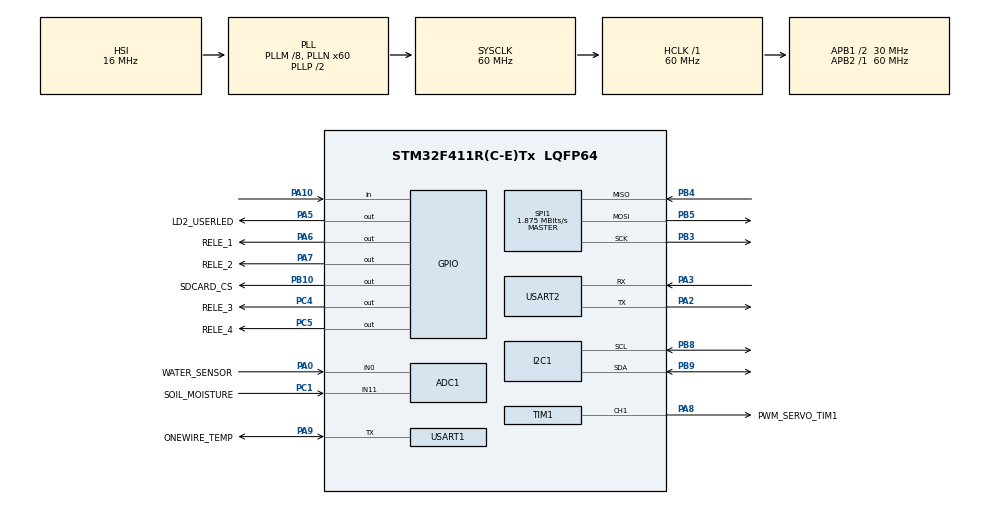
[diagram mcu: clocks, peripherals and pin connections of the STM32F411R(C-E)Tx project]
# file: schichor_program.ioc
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ADC1.Channel-0\#ChannelRegularConversion=ADC_CHANNEL_0
ADC1.Channel-1\#ChannelRegularConversion=ADC_CHANNEL_11
ADC1.ContinuousConvMode=ENABLE
ADC1.NbrOfConversion=2
ADC1.NbrOfConversionFlag=1
ADC1.Rank-0\#ChannelRegularConversion=1
ADC1.Rank-1\#ChannelRegularConversion=2
ADC1.SamplingTime-0\#ChannelRegularConversion=ADC_SAMPLETIME_3CYCLES
ADC1.SamplingTime-1\#ChannelRegularConversion=ADC_SAMPLETIME_3CYCLES
ADC1.master=1
Dma.ADC1.0.Direction=DMA_PERIPH_TO_MEMORY
Dma.ADC1.0.FIFOMode=DMA_FIFOMODE_DISABLE
Dma.ADC1.0.Instance=DMA2_Stream0
Dma.ADC1.0.MemDataAlignment=DMA_MDATAALIGN_HALFWORD
Dma.ADC1.0.MemInc=DMA_MINC_ENABLE
Dma.ADC1.0.Mode=DMA_CIRCULAR
Dma.ADC1.0.PeriphDataAlignment=DMA_PDATAALIGN_HALFWORD
Dma.ADC1.0.PeriphInc=DMA_PINC_DISABLE
Dma.ADC1.0.Priority=DMA_PRIORITY_LOW
Dma.Request0=ADC1
Dma.Request1=USART1_RX
Dma.Request2=USART1_TX
Dma.USART1_RX.1.Direction=DMA_PERIPH_TO_MEMORY
Dma.USART1_RX.1.FIFOMode=DMA_FIFOMODE_DISABLE
Dma.USART1_RX.1.Instance=DMA2_Stream2
Dma.USART1_RX.1.MemDataAlignment=DMA_MDATAALIGN_BYTE
Dma.USART1_RX.1.MemInc=DMA_MINC_ENABLE
Dma.USART1_RX.1.Mode=DMA_NORMAL
Dma.USART1_RX.1.PeriphDataAlignment=DMA_PDATAALIGN_BYTE
Dma.USART1_RX.1.PeriphInc=DMA_PINC_DISABLE
Dma.USART1_RX.1.Priority=DMA_PRIORITY_LOW
Dma.USART1_TX.2.Direction=DMA_MEMORY_TO_PERIPH
Dma.USART1_TX.2.FIFOMode=DMA_FIFOMODE_DISABLE
Dma.USART1_TX.2.Instance=DMA2_Stream7
Dma.USART1_TX.2.MemDataAlignment=DMA_MDATAALIGN_BYTE
Dma.USART1_TX.2.MemInc=DMA_MINC_ENABLE
Dma.USART1_TX.2.Mode=DMA_NORMAL
Dma.USART1_TX.2.PeriphDataAlignment=DMA_PDATAALIGN_BYTE
Dma.USART1_TX.2.PeriphInc=DMA_PINC_DISABLE
Dma.USART1_TX.2.Priority=DMA_PRIORITY_LOW
FATFS._MAX_SS=4096
FATFS._USE_LFN=0
FREERTOS.Tasks01=defaultTask,0,128,StartDefaultTask,Default,NULL,Dynamic,NULL,NULL
FREERTOS.configUSE_COUNTING_SEMAPHORES=1
I2C1.I2C_Mode=I2C_Fast
Mcu.Family=STM32F4
Mcu.Name=STM32F411R(C-E)Tx
Mcu.Package=LQFP64
NVIC.DMA2_Stream0_IRQn=true\:5\:0\:false\:false\:true\:true\:false\:true
NVIC.DMA2_Stream2_IRQn=true\:5\:0\:false\:false\:true\:true\:false\:true
NVIC.DMA2_Stream7_IRQn=true\:5\:0\:false\:false\:true\:true\:false\:true
NVIC.PriorityGroup=NVIC_PRIORITYGROUP_4
NVIC.TIM1_BRK_TIM9_IRQn=true\:5\:0\:false\:false\:true\:false\:false\:true
NVIC.TIM1_TRG_COM_TIM11_IRQn=true\:5\:0\:false\:false\:true\:false\:false\:true
NVIC.TIM1_UP_TIM10_IRQn=true\:5\:0\:false\:false\:true\:true\:true\:true
NVIC.TIM5_IRQn=true\:15\:0\:false\:false\:true\:false\:false\:true
NVIC.TimeBase=TIM5_IRQn
NVIC.TimeBaseIP=TIM5
NVIC.USART1_IRQn=true\:5\:0\:false\:false\:true\:true\:true\:true
PA0-WKUP.GPIO_Label=WATER_SENSOR
PA0-WKUP.Signal=ADCx_IN0
PA10.GPIO_PuPd=GPIO_PULLUP
PA10.Signal=GPIO_Input
PA13.Mode=Serial_Wire
PA13.Signal=SYS_JTMS-SWDIO
PA14.Mode=Serial_Wire
PA14.Signal=SYS_JTCK-SWCLK
PA2.Mode=Asynchronous
PA2.Signal=USART2_TX
PA3.Mode=Asynchronous
PA3.Signal=USART2_RX
PA5.GPIO_Label=LD2_USERLED
PA5.Signal=GPIO_Output
PA6.GPIO_Label=RELE_1
PA6.PinState=GPIO_PIN_RESET
PA6.Signal=GPIO_Output
PA7.GPIO_Label=RELE_2
PA7.Signal=GPIO_Output
PA8.GPIO_Label=PWM_SERVO_TIM1
PA8.Signal=S_TIM1_CH1
PA9.GPIO_Label=ONEWIRE_TEMP
PA9.Mode=Half_duplex(single_wire_mode)
PA9.Signal=USART1_TX
PB10.GPIO_Label=SDCARD_CS
PB10.Signal=GPIO_Output
PB3.Mode=Full_Duplex_Master
PB3.Signal=SPI1_SCK
PB4.Mode=Full_Duplex_Master
PB4.Signal=SPI1_MISO
PB5.Mode=Full_Duplex_Master
PB5.Signal=SPI1_MOSI
PB8.Mode=I2C
PB8.Signal=I2C1_SCL
PB9.Mode=I2C
PB9.Signal=I2C1_SDA
PC1.GPIO_Label=SOIL_MOISTURE
PC1.Signal=ADCx_IN11
PC4.GPIO_Label=RELE_3
PC4.PinState=GPIO_PIN_RESET
PC4.Signal=GPIO_Output
PC5.GPIO_Label=RELE_4
PC5.Signal=GPIO_Output
PH0\ -\ OSC_IN.Mode=HSE-External-Oscillator
PH0\ -\ OSC_IN.Signal=RCC_OSC_IN
PH1\ -\ OSC_OUT.Mode=HSE-External-Oscillator
PH1\ -\ OSC_OUT.Signal=RCC_OSC_OUT
ProjectManager.HeapSize=0x400
ProjectManager.StackSize=0x800
ProjectManager.TargetToolchain=STM32CubeIDE
RCC.48MHZClocksFreq_Value=30000000
RCC.AHBFreq_Value=60000000
RCC.APB1CLKDivider=RCC_HCLK_DIV2
RCC.APB1Freq_Value=30000000
RCC.APB1TimFreq_Value=60000000
RCC.APB2Freq_Value=60000000
RCC.APB2TimFreq_Value=60000000
RCC.CortexFreq_Value=60000000
RCC.HCLKFreq_Value=60000000
RCC.HSE_VALUE=8000000
RCC.HSI_VALUE=16000000
RCC.LSE_VALUE=32768
RCC.PLLM=8
RCC.PLLN=60
RCC.SYSCLKFreq_VALUE=60000000
RCC.SYSCLKSource=RCC_SYSCLKSOURCE_PLLCLK
RCC.VCOOutputFreq_Value=120000000
SH.ADCx_IN0.0=ADC1_IN0,IN0
SH.ADCx_IN11.0=ADC1_IN11,IN11
SH.S_TIM1_CH1.0=TIM1_CH1,PWM Generation1 CH1
SPI1.BaudRatePrescaler=SPI_BAUDRATEPRESCALER_32
SPI1.CalculateBaudRate=1.875 MBits/s
SPI1.Direction=SPI_DIRECTION_2LINES
SPI1.Mode=SPI_MODE_MASTER
SPI1.VirtualType=VM_MASTER
TIM1.Channel-PWM\ Generation1\ CH1=TIM_CHANNEL_1
TIM1.Period=2000-1
TIM1.Prescaler=60000-1
TIM1.TIM_MasterOutputTrigger=TIM_TRGO_UPDATE
TIM9.Period=0xffff-1
TIM9.Prescaler=60-1
USART1.VirtualMode=VM_ASYNC
USART2.VirtualMode=VM_ASYNC
VP_FATFS_VS_Generic.Mode=User_defined
VP_FREERTOS_VS_CMSIS_V1.Mode=CMSIS_V1
VP_SYS_VS_tim5.Mode=TIM5
VP_TIM1_VS_ClockSourceINT.Mode=Internal
VP_TIM9_VS_ClockSourceINT.Mode=Internal
board=custom

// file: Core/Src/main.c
/* USER CODE BEGIN Header */
/**
  ******************************************************************************
  * @file           : main.c
  * @brief          : Main program body
  ******************************************************************************
  * @attention
  *
  * <h2><center>&copy; Copyright (c) 2021 STMicroelectronics.
  * All rights reserved.</center></h2>
  *
  * This software component is licensed by ST under BSD 3-Clause license,
  * the "License"; You may not use this file except in compliance with the
  * License. You may obtain a copy of the License at:
  *                        opensource.org/licenses/BSD-3-Clause
  *
  ******************************************************************************
  */
/* USER CODE END Header */
#include "main.h"
#include "cmsis_os.h"
#include "fatfs.h"

/* USER CODE BEGIN Includes */
#include "FreeRTOS.h"
#include "task.h"
#include "timers.h"
#include "queue.h"
#include "semphr.h"
#include "event_groups.h"

#include "ssd1306.h"
#include "fonts.h"
#include "File_Handling_RTOS.h"

#include "OneWire.h"
#include "DallasTemperature.h"
/* USER CODE END Includes */

ADC_HandleTypeDef hadc1;
DMA_HandleTypeDef hdma_adc1;

I2C_HandleTypeDef hi2c1;

SPI_HandleTypeDef hspi1;

TIM_HandleTypeDef htim1;
TIM_HandleTypeDef htim9;

UART_HandleTypeDef huart1;
UART_HandleTypeDef huart2;
DMA_HandleTypeDef hdma_usart1_rx;
DMA_HandleTypeDef hdma_usart1_tx;

osThreadId defaultTaskHandle;

void SystemClock_Config(void);
static void MX_GPIO_Init(void);
static void MX_I2C1_Init(void);
static void MX_TIM1_Init(void);
static void MX_SPI1_Init(void);
static void MX_TIM9_Init(void);
static void MX_ADC1_Init(void);
static void MX_DMA_Init(void);
static void MX_USART2_UART_Init(void);
static void MX_USART1_UART_Init(void);
void StartDefaultTask(void const * argument);

/* USER CODE BEGIN 0 */

OneWire_HandleTypeDef ow;
DallasTemperature_HandleTypeDef dt;
char buf[5];
float Temperature;
uint16_t valueADC[2];
float TEMP[3] = {0,0,0};
int errNum = 0;

xTaskHandle LCD_Task_Handler;
xTaskHandle Sensors_Load_Task_Handler;
xTaskHandle SDcard_Task_Handler;
xTaskHandle errLED_Task_Handler;
xTaskHandle Bluetooth_Task_Handler;
xTaskHandle Output_update_Task_Handler;

osSemaphoreId BinSemHandle;

void errLED_Task(void *argument)
{
	while(1)
	{
		osSemaphoreWait(BinSemHandle, osWaitForever);
		for(int j = (errNum+1)*2; j > 0; j--)
		{
			HAL_GPIO_TogglePin(GPIOA,GPIO_PIN_5);
			char *string = "blik\n";
			HAL_UART_Transmit(&huart2, (uint8_t *)string, strlen (string), HAL_MAX_DELAY);
			vTaskDelay(200);
		}
		osSemaphoreRelease(BinSemHandle);
		vTaskDelay(2000);
	}
}

void LCD_Task(void *argument)
{
	errNum = 1;
	while(!SSD1306_Init())
	{
		vTaskDelay(2000);
	}
	errNum = 0;

	SSD1306_Clear();
	SSD1306_GotoXY(10,10);
	SSD1306_Puts("GREENHOUSE",&Font_11x18,1);
	SSD1306_GotoXY(10,28);
	SSD1306_Puts("5000",&Font_11x18,1);
	SSD1306_GotoXY(0,53);
	SSD1306_Puts("V0.23",&Font_7x10,1);
	SSD1306_UpdateScreen();
	osDelay(2000);
	SSD1306_Clear();

	while(1)
	{
		osSemaphoreWait(BinSemHandle, osWaitForever);

		SSD1306_Clear();
		if(HAL_GPIO_ReadPin(GPIOA, GPIO_PIN_10))
		{
			for(int i = 0; i < 3;i++)
			{
				SSD1306_GotoXY(5,5+i*20);
				if(TEMP[i] == -1)
				{
					SSD1306_Puts("CYHBA",&Font_11x18,1);
				}
				else
				{
					sprintf (buf, "%.2f", TEMP[i]);
					SSD1306_Puts(buf,&Font_11x18,1);
				}
				SSD1306_UpdateScreen();
			}
		}
		else
		{

			for(int i = 0; i < 2;i++)
			{
				SSD1306_GotoXY(5,5+i*20);
				sprintf (buf, "%d", valueADC[i]);
				SSD1306_Puts(buf,&Font_11x18,1);
				SSD1306_UpdateScreen();
			}
		}
		vTaskDelay(2000);
		osSemaphoreRelease(BinSemHandle);
	}
}

void Sensors_Load_Task(void *argument)
{
	OW_Begin(&ow, &huart1);

	errNum = 2;
	while(OW_Reset(&ow) != OW_OK)
	{
		vTaskDelay(2000);
	}
	errNum = 0;

	DT_SetOneWire(&dt, &ow);
	CurrentDeviceAddress insideThermometer;
	DT_Begin(&dt);

	uint8_t numDev = DT_GetDeviceCount(&dt);

	for (int i = 0; i < numDev; ++i)
	{
		DT_GetAddress(&dt, insideThermometer, i);
		DT_SetResolution(&dt, insideThermometer, 12, true);
	}

	while(1)
	{
		osSemaphoreWait(BinSemHandle, osWaitForever);

		DT_RequestTemperatures(&dt);

		for (int i = 0; i < numDev; ++i)
		{
			TEMP[i] = DT_GetTempCByIndex(&dt, i);
		}

		HAL_ADC_Start_DMA(&hadc1, (uint32_t*)valueADC, 2);

		osSemaphoreRelease(BinSemHandle);
		vTaskDelay(2000);
	}
}

void SDcard_Task(void *argument)
{
	Mount_SD("/");
	Format_SD();
	Create_File("DATA.TXT");
	Unmount_SD("/");
	int indx=1;

	while(1)
	{
		osSemaphoreWait(BinSemHandle, osWaitForever);

		char *buffer = pvPortMalloc(50*sizeof(char));
		Mount_SD("/");
		sprintf (buffer, "%d. Temp1 = %.2f C\tTemp2 = %.2f C\tTemp3 = %.2f C\tADC1 = %d\tADC2 = %d\n",indx, TEMP[0], TEMP[1],TEMP[2],valueADC[0],valueADC[1]);
		Update_File("DATA.TXT", buffer);
		vPortFree(buffer);
		Unmount_SD("/");

		char *string = "magor\n";
					HAL_UART_Transmit(&huart2, (uint8_t *)string, strlen (string), HAL_MAX_DELAY);

		indx++;

		osSemaphoreRelease(BinSemHandle);
		vTaskDelay(5000);
	}

}

void Bluetooth_Task(void *argument)
{
	while(1)
	{
		osSemaphoreWait(BinSemHandle, osWaitForever);

		osSemaphoreRelease(BinSemHandle);
		vTaskDelay(200000);
	}
}

void Output_update_Task(void *argument)
{
	while(1)
	{
		osSemaphoreWait(BinSemHandle, osWaitForever);

		if(HAL_GPIO_ReadPin(GPIOA, GPIO_PIN_10))
		{
			HAL_GPIO_TogglePin(GPIOA,GPIO_PIN_6);
			HAL_GPIO_TogglePin(GPIOA,GPIO_PIN_7);
		}

		HAL_GPIO_TogglePin(GPIOC,GPIO_PIN_4);
		HAL_GPIO_TogglePin(GPIOC,GPIO_PIN_5);

		osSemaphoreRelease(BinSemHandle);
		vTaskDelay(5000);
	}
}

/* USER CODE END 0 */

int main(void)
{

  /* MCU Configuration--------------------------------------------------------*/

  /* Reset of all peripherals, Initializes the Flash interface and the Systick. */
  HAL_Init();

  /* Configure the system clock */
  SystemClock_Config();

  /* Initialize all configured peripherals */
  MX_GPIO_Init();
  MX_I2C1_Init();
  MX_TIM1_Init();
  MX_SPI1_Init();
  MX_FATFS_Init();
  MX_TIM9_Init();
  MX_DMA_Init();
  MX_ADC1_Init();
  MX_USART2_UART_Init();
  MX_USART1_UART_Init();
  /* USER CODE BEGIN 2 */

  xTaskCreate(LCD_Task, "LCD", 512, NULL, 1, &LCD_Task_Handler);
  xTaskCreate(Sensors_Load_Task, "SNZRS", 512, NULL, 2, &Sensors_Load_Task_Handler);
  xTaskCreate(SDcard_Task, "SD", 512, NULL, 3, &SDcard_Task_Handler);
  xTaskCreate(errLED_Task, "eLED", 128, NULL, 1, &errLED_Task_Handler);
  xTaskCreate(Bluetooth_Task, "BT", 512, NULL, 1, &Bluetooth_Task_Handler);
  xTaskCreate(Output_update_Task, "OUT_UP", 512, NULL, 1, &Output_update_Task_Handler);

  osSemaphoreDef(BinSem);
  BinSemHandle = osSemaphoreCreate(osSemaphore(BinSem), 1);

  HAL_TIM_Base_Start(&htim9);
  //HAL_TIM_Base_Start_IT(&htim1);

  vTaskStartScheduler();

  /* USER CODE END 2 */

  /* Create the thread(s) */
  /* definition and creation of defaultTask */
  osThreadDef(defaultTask, StartDefaultTask, osPriorityNormal, 0, 128);
  defaultTaskHandle = osThreadCreate(osThread(defaultTask), NULL);

  /* Start scheduler */
  osKernelStart();

  /* We should never get here as control is now taken by the scheduler */
  /* Infinite loop */
  while (1)
  {

  }
}

void SystemClock_Config(void)
{
  RCC_OscInitTypeDef RCC_OscInitStruct = {0};
  RCC_ClkInitTypeDef RCC_ClkInitStruct = {0};

  /** Configure the main internal regulator output voltage
  */
  __HAL_RCC_PWR_CLK_ENABLE();
  __HAL_PWR_VOLTAGESCALING_CONFIG(PWR_REGULATOR_VOLTAGE_SCALE1);
  /** Initializes the RCC Oscillators according to the specified parameters
  * in the RCC_OscInitTypeDef structure.
  */
  RCC_OscInitStruct.OscillatorType = RCC_OSCILLATORTYPE_HSI;
  RCC_OscInitStruct.HSIState = RCC_HSI_ON;
  RCC_OscInitStruct.HSICalibrationValue = RCC_HSICALIBRATION_DEFAULT;
  RCC_OscInitStruct.PLL.PLLState = RCC_PLL_ON;
  RCC_OscInitStruct.PLL.PLLSource = RCC_PLLSOURCE_HSI;
  RCC_OscInitStruct.PLL.PLLM = 8;
  RCC_OscInitStruct.PLL.PLLN = 60;
  RCC_OscInitStruct.PLL.PLLP = RCC_PLLP_DIV2;
  RCC_OscInitStruct.PLL.PLLQ = 4;
  if (HAL_RCC_OscConfig(&RCC_OscInitStruct) != HAL_OK)
  {
    Error_Handler();
  }
  /** Initializes the CPU, AHB and APB buses clocks
  */
  RCC_ClkInitStruct.ClockType = RCC_CLOCKTYPE_HCLK|RCC_CLOCKTYPE_SYSCLK
                              |RCC_CLOCKTYPE_PCLK1|RCC_CLOCKTYPE_PCLK2;
  RCC_ClkInitStruct.SYSCLKSource = RCC_SYSCLKSOURCE_PLLCLK;
  RCC_ClkInitStruct.AHBCLKDivider = RCC_SYSCLK_DIV1;
  RCC_ClkInitStruct.APB1CLKDivider = RCC_HCLK_DIV2;
  RCC_ClkInitStruct.APB2CLKDivider = RCC_HCLK_DIV1;

  if (HAL_RCC_ClockConfig(&RCC_ClkInitStruct, FLASH_LATENCY_1) != HAL_OK)
  {
    Error_Handler();
  }
}

static void MX_ADC1_Init(void)
{

  ADC_ChannelConfTypeDef sConfig = {0};

  /** Configure the global features of the ADC (Clock, Resolution, Data Alignment and number of conversion)
  */
  hadc1.Instance = ADC1;
  hadc1.Init.ClockPrescaler = ADC_CLOCK_SYNC_PCLK_DIV2;
  hadc1.Init.Resolution = ADC_RESOLUTION_12B;
  hadc1.Init.ScanConvMode = ENABLE;
  hadc1.Init.ContinuousConvMode = ENABLE;
  hadc1.Init.DiscontinuousConvMode = DISABLE;
  hadc1.Init.ExternalTrigConvEdge = ADC_EXTERNALTRIGCONVEDGE_NONE;
  hadc1.Init.ExternalTrigConv = ADC_SOFTWARE_START;
  hadc1.Init.DataAlign = ADC_DATAALIGN_RIGHT;
  hadc1.Init.NbrOfConversion = 2;
  hadc1.Init.DMAContinuousRequests = DISABLE;
  hadc1.Init.EOCSelection = ADC_EOC_SINGLE_CONV;
  if (HAL_ADC_Init(&hadc1) != HAL_OK)
  {
    Error_Handler();
  }
  /** Configure for the selected ADC regular channel its corresponding rank in the sequencer and its sample time.
  */
  sConfig.Channel = ADC_CHANNEL_0;
  sConfig.Rank = 1;
  sConfig.SamplingTime = ADC_SAMPLETIME_3CYCLES;
  if (HAL_ADC_ConfigChannel(&hadc1, &sConfig) != HAL_OK)
  {
    Error_Handler();
  }
  /** Configure for the selected ADC regular channel its corresponding rank in the sequencer and its sample time.
  */
  sConfig.Channel = ADC_CHANNEL_11;
  sConfig.Rank = 2;
  if (HAL_ADC_ConfigChannel(&hadc1, &sConfig) != HAL_OK)
  {
    Error_Handler();
  }

}

static void MX_I2C1_Init(void)
{

  hi2c1.Instance = I2C1;
  hi2c1.Init.ClockSpeed = 400000;
  hi2c1.Init.DutyCycle = I2C_DUTYCYCLE_2;
  hi2c1.Init.OwnAddress1 = 0;
  hi2c1.Init.AddressingMode = I2C_ADDRESSINGMODE_7BIT;
  hi2c1.Init.DualAddressMode = I2C_DUALADDRESS_DISABLE;
  hi2c1.Init.OwnAddress2 = 0;
  hi2c1.Init.GeneralCallMode = I2C_GENERALCALL_DISABLE;
  hi2c1.Init.NoStretchMode = I2C_NOSTRETCH_DISABLE;
  if (HAL_I2C_Init(&hi2c1) != HAL_OK)
  {
    Error_Handler();
  }

}

static void MX_SPI1_Init(void)
{

  /* SPI1 parameter configuration*/
  hspi1.Instance = SPI1;
  hspi1.Init.Mode = SPI_MODE_MASTER;
  hspi1.Init.Direction = SPI_DIRECTION_2LINES;
  hspi1.Init.DataSize = SPI_DATASIZE_8BIT;
  hspi1.Init.CLKPolarity = SPI_POLARITY_LOW;
  hspi1.Init.CLKPhase = SPI_PHASE_1EDGE;
  hspi1.Init.NSS = SPI_NSS_SOFT;
  hspi1.Init.BaudRatePrescaler = SPI_BAUDRATEPRESCALER_32;
  hspi1.Init.FirstBit = SPI_FIRSTBIT_MSB;
  hspi1.Init.TIMode = SPI_TIMODE_DISABLE;
  hspi1.Init.CRCCalculation = SPI_CRCCALCULATION_DISABLE;
  hspi1.Init.CRCPolynomial = 10;
  if (HAL_SPI_Init(&hspi1) != HAL_OK)
  {
    Error_Handler();
  }

}

static void MX_TIM1_Init(void)
{

  TIM_ClockConfigTypeDef sClockSourceConfig = {0};
  TIM_MasterConfigTypeDef sMasterConfig = {0};
  TIM_OC_InitTypeDef sConfigOC = {0};
  TIM_BreakDeadTimeConfigTypeDef sBreakDeadTimeConfig = {0};

  htim1.Instance = TIM1;
  htim1.Init.Prescaler = 60000-1;
  htim1.Init.CounterMode = TIM_COUNTERMODE_UP;
  htim1.Init.Period = 2000-1;
  htim1.Init.ClockDivision = TIM_CLOCKDIVISION_DIV1;
  htim1.Init.RepetitionCounter = 0;
  htim1.Init.AutoReloadPreload = TIM_AUTORELOAD_PRELOAD_DISABLE;
  if (HAL_TIM_Base_Init(&htim1) != HAL_OK)
  {
    Error_Handler();
  }
  sClockSourceConfig.ClockSource = TIM_CLOCKSOURCE_INTERNAL;
  if (HAL_TIM_ConfigClockSource(&htim1, &sClockSourceConfig) != HAL_OK)
  {
    Error_Handler();
  }
  if (HAL_TIM_PWM_Init(&htim1) != HAL_OK)
  {
    Error_Handler();
  }
  sMasterConfig.MasterOutputTrigger = TIM_TRGO_UPDATE;
  sMasterConfig.MasterSlaveMode = TIM_MASTERSLAVEMODE_DISABLE;
  if (HAL_TIMEx_MasterConfigSynchronization(&htim1, &sMasterConfig) != HAL_OK)
  {
    Error_Handler();
  }
  sConfigOC.OCMode = TIM_OCMODE_PWM1;
  sConfigOC.Pulse = 0;
  sConfigOC.OCPolarity = TIM_OCPOLARITY_HIGH;
  sConfigOC.OCNPolarity = TIM_OCNPOLARITY_HIGH;
  sConfigOC.OCFastMode = TIM_OCFAST_DISABLE;
  sConfigOC.OCIdleState = TIM_OCIDLESTATE_RESET;
  sConfigOC.OCNIdleState = TIM_OCNIDLESTATE_RESET;
  if (HAL_TIM_PWM_ConfigChannel(&htim1, &sConfigOC, TIM_CHANNEL_1) != HAL_OK)
  {
    Error_Handler();
  }
  sBreakDeadTimeConfig.OffStateRunMode = TIM_OSSR_DISABLE;
  sBreakDeadTimeConfig.OffStateIDLEMode = TIM_OSSI_DISABLE;
  sBreakDeadTimeConfig.LockLevel = TIM_LOCKLEVEL_OFF;
  sBreakDeadTimeConfig.DeadTime = 0;
  sBreakDeadTimeConfig.BreakState = TIM_BREAK_DISABLE;
  sBreakDeadTimeConfig.BreakPolarity = TIM_BREAKPOLARITY_HIGH;
  sBreakDeadTimeConfig.AutomaticOutput = TIM_AUTOMATICOUTPUT_DISABLE;
  if (HAL_TIMEx_ConfigBreakDeadTime(&htim1, &sBreakDeadTimeConfig) != HAL_OK)
  {
    Error_Handler();
  }
  HAL_TIM_MspPostInit(&htim1);

}

static void MX_TIM9_Init(void)
{

  TIM_ClockConfigTypeDef sClockSourceConfig = {0};

  htim9.Instance = TIM9;
  htim9.Init.Prescaler = 60-1;
  htim9.Init.CounterMode = TIM_COUNTERMODE_UP;
  htim9.Init.Period = 0xffff-1;
  htim9.Init.ClockDivision = TIM_CLOCKDIVISION_DIV1;
  htim9.Init.AutoReloadPreload = TIM_AUTORELOAD_PRELOAD_DISABLE;
  if (HAL_TIM_Base_Init(&htim9) != HAL_OK)
  {
    Error_Handler();
  }
  sClockSourceConfig.ClockSource = TIM_CLOCKSOURCE_INTERNAL;
  if (HAL_TIM_ConfigClockSource(&htim9, &sClockSourceConfig) != HAL_OK)
  {
    Error_Handler();
  }

}

static void MX_USART1_UART_Init(void)
{

  huart1.Instance = USART1;
  huart1.Init.BaudRate = 115200;
  huart1.Init.WordLength = UART_WORDLENGTH_8B;
  huart1.Init.StopBits = UART_STOPBITS_1;
  huart1.Init.Parity = UART_PARITY_NONE;
  huart1.Init.Mode = UART_MODE_TX_RX;
  huart1.Init.HwFlowCtl = UART_HWCONTROL_NONE;
  huart1.Init.OverSampling = UART_OVERSAMPLING_16;
  if (HAL_HalfDuplex_Init(&huart1) != HAL_OK)
  {
    Error_Handler();
  }

}

static void MX_USART2_UART_Init(void)
{

  huart2.Instance = USART2;
  huart2.Init.BaudRate = 115200;
  huart2.Init.WordLength = UART_WORDLENGTH_8B;
  huart2.Init.StopBits = UART_STOPBITS_1;
  huart2.Init.Parity = UART_PARITY_NONE;
  huart2.Init.Mode = UART_MODE_TX_RX;
  huart2.Init.HwFlowCtl = UART_HWCONTROL_NONE;
  huart2.Init.OverSampling = UART_OVERSAMPLING_16;
  if (HAL_UART_Init(&huart2) != HAL_OK)
  {
    Error_Handler();
  }

}

static void MX_DMA_Init(void)
{

  /* DMA controller clock enable */
  __HAL_RCC_DMA2_CLK_ENABLE();

  /* DMA interrupt init */
  /* DMA2_Stream0_IRQn interrupt configuration */
  HAL_NVIC_SetPriority(DMA2_Stream0_IRQn, 5, 0);
  HAL_NVIC_EnableIRQ(DMA2_Stream0_IRQn);
  /* DMA2_Stream2_IRQn interrupt configuration */
  HAL_NVIC_SetPriority(DMA2_Stream2_IRQn, 5, 0);
  HAL_NVIC_EnableIRQ(DMA2_Stream2_IRQn);
  /* DMA2_Stream7_IRQn interrupt configuration */
  HAL_NVIC_SetPriority(DMA2_Stream7_IRQn, 5, 0);
  HAL_NVIC_EnableIRQ(DMA2_Stream7_IRQn);

}

static void MX_GPIO_Init(void)
{
  GPIO_InitTypeDef GPIO_InitStruct = {0};

  /* GPIO Ports Clock Enable */
  __HAL_RCC_GPIOH_CLK_ENABLE();
  __HAL_RCC_GPIOC_CLK_ENABLE();
  __HAL_RCC_GPIOA_CLK_ENABLE();
  __HAL_RCC_GPIOB_CLK_ENABLE();

  /*Configure GPIO pin Output Level */
  HAL_GPIO_WritePin(GPIOA, LD2_USERLED_Pin|RELE_1_Pin|RELE_2_Pin, GPIO_PIN_RESET);

  /*Configure GPIO pin Output Level */
  HAL_GPIO_WritePin(GPIOC, RELE_3_Pin|RELE_4_Pin, GPIO_PIN_RESET);

  /*Configure GPIO pin Output Level */
  HAL_GPIO_WritePin(SDCARD_CS_GPIO_Port, SDCARD_CS_Pin, GPIO_PIN_RESET);

  /*Configure GPIO pins : LD2_USERLED_Pin RELE_1_Pin RELE_2_Pin */
  GPIO_InitStruct.Pin = LD2_USERLED_Pin|RELE_1_Pin|RELE_2_Pin;
  GPIO_InitStruct.Mode = GPIO_MODE_OUTPUT_PP;
  GPIO_InitStruct.Pull = GPIO_NOPULL;
  GPIO_InitStruct.Speed = GPIO_SPEED_FREQ_LOW;
  HAL_GPIO_Init(GPIOA, &GPIO_InitStruct);

  /*Configure GPIO pins : RELE_3_Pin RELE_4_Pin */
  GPIO_InitStruct.Pin = RELE_3_Pin|RELE_4_Pin;
  GPIO_InitStruct.Mode = GPIO_MODE_OUTPUT_PP;
  GPIO_InitStruct.Pull = GPIO_NOPULL;
  GPIO_InitStruct.Speed = GPIO_SPEED_FREQ_LOW;
  HAL_GPIO_Init(GPIOC, &GPIO_InitStruct);

  /*Configure GPIO pin : SDCARD_CS_Pin */
  GPIO_InitStruct.Pin = SDCARD_CS_Pin;
  GPIO_InitStruct.Mode = GPIO_MODE_OUTPUT_PP;
  GPIO_InitStruct.Pull = GPIO_NOPULL;
  GPIO_InitStruct.Speed = GPIO_SPEED_FREQ_LOW;
  HAL_GPIO_Init(SDCARD_CS_GPIO_Port, &GPIO_InitStruct);

  /*Configure GPIO pin : PA10 */
  GPIO_InitStruct.Pin = GPIO_PIN_10;
  GPIO_InitStruct.Mode = GPIO_MODE_INPUT;
  GPIO_InitStruct.Pull = GPIO_PULLUP;
  HAL_GPIO_Init(GPIOA, &GPIO_InitStruct);

}

void StartDefaultTask(void const * argument)
{
  for(;;)
  {
    osDelay(1);
  }
}

void HAL_TIM_PeriodElapsedCallback(TIM_HandleTypeDef *htim)
{
  if (htim->Instance == TIM5) {
    HAL_IncTick();
  }
}

void Error_Handler(void)
{
  __disable_irq();
  while (1)
  {
  }
}

/************************ (C) COPYRIGHT STMicroelectronics *****END OF FILE****/
